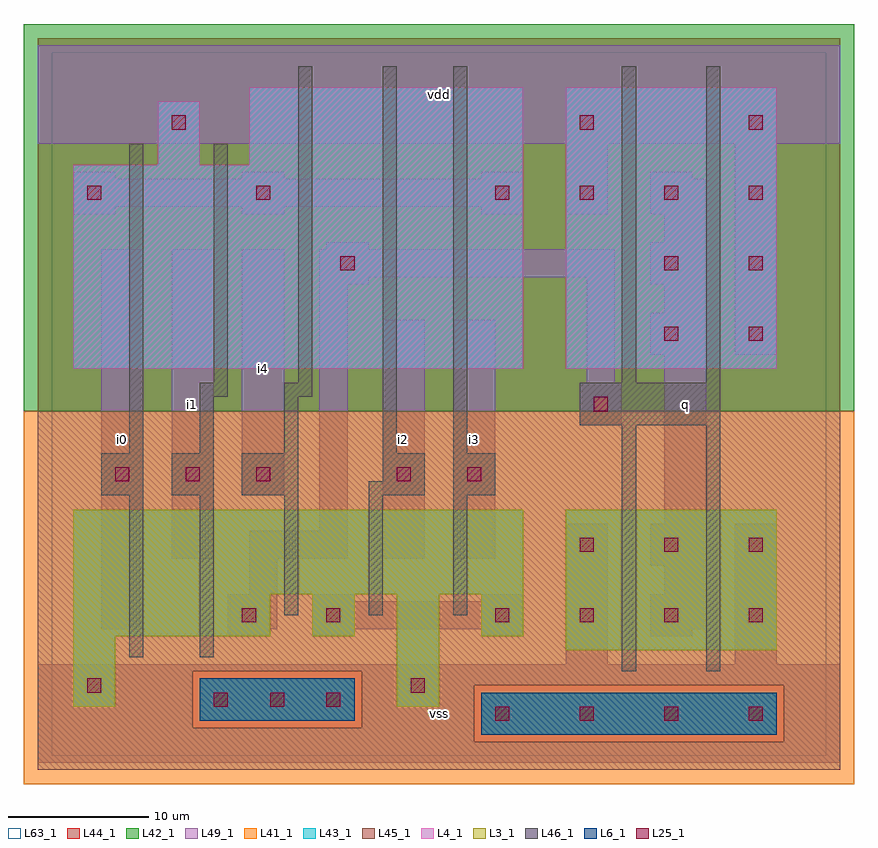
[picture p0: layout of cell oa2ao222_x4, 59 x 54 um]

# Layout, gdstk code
import gdstk
lib = gdstk.Library(unit=1e-6, precision=1e-09)
def R(c, l, rs):  # rectangles x0, y0, x1, y1
    for r in rs: c.add(gdstk.rectangle(r[:2], r[2:], *l))
def A(c, l, x, y, w, h, nx, ny, dx, dy):  # array of equal rectangles
    R(c, l, [(x+i*dx, y+j*dy, x+i*dx+w, y+j*dy+h) for i in range(nx) for j in range(ny)])
L3_1 = (3, 1)
L4_1 = (4, 1)
L6_1 = (6, 1)
L25_1 = (25, 1)
L41_1 = (41, 1)
L42_1 = (42, 1)
L43_1 = (43, 1)
L44_1 = (44, 1)
L45_1 = (45, 1)
L46_1 = (46, 1)
L49_1 = (49, 1)
L63_1 = (63, 1)

oa2ao222_x4 = lib.new_cell('oa2ao222_x4')
R(oa2ao222_x4, L3_1, [(1.5,3.5,4.5,8.5), (24.5,3.5,27.5,11.5), (36.5,7.5,51.5,17.5), (1.5,8.5,15.5,11.5), (18.5,8.5,21.5,11.5), (30.5,8.5,33.5,11.5), (1.5,11.5,33.5,17.5)])
R(oa2ao222_x4, L4_1, [(1.5,27.5,33.5,42), (36.5,27.5,51.5,47.5), (7.5,42,10.5,46.5), (14,42,33.5,47.5)])
R(oa2ao222_x4, L6_1, [(30.5,1.5,51.5,4.5), (10.5,2.5,21.5,5.5)])
A(oa2ao222_x4, L25_1, 31.5, 2.5, 1, 1, 4, 2, 6, 7)
A(oa2ao222_x4, L25_1, 11.5, 3.5, 1, 1, 3, 1, 4, 0)
A(oa2ao222_x4, L25_1, 37.5, 14.5, 1, 1, 3, 1, 6, 0)
A(oa2ao222_x4, L25_1, 4.5, 19.5, 1, 1, 3, 1, 5, 0)
A(oa2ao222_x4, L25_1, 31.5, 39.5, 1, 1, 4, 1, 6, 0)
R(oa2ao222_x4, L25_1, [(2.5,4.5,3.5,5.5), (25.5,4.5,26.5,5.5), (13.5,9.5,14.5,10.5), (19.5,9.5,20.5,10.5), (24.5,19.5,25.5,20.5), (29.5,19.5,30.5,20.5), (38.5,24.5,39.5,25.5), (43.5,29.5,44.5,30.5), (49.5,29.5,50.5,30.5), (20.5,34.5,21.5,35.5), (43.5,34.5,44.5,35.5), (49.5,34.5,50.5,35.5), (2.5,39.5,3.5,40.5), (14.5,39.5,15.5,40.5), (8.5,44.5,9.5,45.5), (37.5,44.5,38.5,45.5), (49.5,44.5,50.5,45.5)])
R(oa2ao222_x4, L41_1, [(-2,-2,57,24.5)])
R(oa2ao222_x4, L42_1, [(-2,24.5,57,52)])
R(oa2ao222_x4, L43_1, [(30.5,1.5,51.5,4.5), (10.5,2.5,21.5,5.5), (1.5,3.5,4.5,8.5), (24.5,3.5,27.5,11.5), (36.5,7.5,51.5,17.5), (1.5,8.5,15.5,11.5), (18.5,8.5,21.5,11.5), (30.5,8.5,33.5,11.5), (1.5,11.5,33.5,17.5), (1.5,27.5,33.5,42), (36.5,27.5,51.5,47.5), (7.5,42,10.5,46.5), (14,42,33.5,47.5)])
R(oa2ao222_x4, L44_1, [(30,1,52,5), (10,2,22,6), (-1,24.5,56,51)])
R(oa2ao222_x4, L45_1, [(-1,-1,56,1), (-1,1,30,2), (52,1,56,5), (-1,2,10,6), (22,2,30,5), (22,5,56,6), (-1,6,56,24.5)])
A(oa2ao222_x4, L46_1, 16.5, 10, 1, 8.5, 3, 1, 6, 0)
R(oa2ao222_x4, L46_1, [(40.5,6,41.5,23.5), (46.5,6,47.5,23.5), (5.5,7,6.5,18.5), (10.5,7,11.5,18.5), (3.5,18.5,6.5,21.5), (8.5,18.5,11.5,21.5), (13.5,18.5,17.5,21.5), (22.5,18.5,26.5,19.5), (28.5,18.5,31.5,21.5), (23.5,19.5,26.5,21.5), (5.5,21.5,6.5,43.5), (10.5,21.5,11.5,25.5), (16.5,21.5,17.5,25.5), (23.5,21.5,24.5,49), (28.5,21.5,29.5,49), (37.5,23.5,47.5,26.5), (10.5,25.5,12.5,26.5), (16.5,25.5,18.5,26.5), (11.5,26.5,12.5,43.5), (17.5,26.5,18.5,49), (40.5,26.5,41.5,49), (46.5,26.5,47.5,49)])
A(oa2ao222_x4, L49_1, 18.5, 8.5, 3, 0.5, 3, 1, 12, 0)
R(oa2ao222_x4, L49_1, [(-1,-0.5,56,6.5), (36.5,6.5,39.5,16.5), (48.5,6.5,51.5,16.5), (12.5,8.5,15.5,9), (3.5,9,6.5,36), (12.5,9,16,11.5), (18.5,9,33.5,11), (42.5,9,46.5,11.5), (18.5,11,21.5,11.5), (30.5,11,33.5,11.5), (14,11.5,16,14), (43.5,11.5,46.5,13.5), (42.5,13.5,46.5,16.5), (8.5,14,11.5,36), (14,14,21,16), (23.5,14,26.5,31), (28.5,14,31.5,31), (19,16,21,33.5), (43.5,16.5,46.5,28.5), (13.5,18.5,16.5,36), (37.5,23.5,40.5,26.5), (38,26.5,40,34), (42.5,28.5,46.5,31.5), (48.5,28.5,51.5,43.5), (43.5,31.5,46.5,33.5), (19,33.5,22.5,34), (42.5,33.5,46.5,36.5), (19,34,40,36), (19.5,36,22.5,36.5), (43.5,36.5,46.5,38.5), (1.5,38.5,4.5,39), (13.5,38.5,16.5,39), (30.5,38.5,33.5,39), (36.5,38.5,39.5,43.5), (42.5,38.5,46.5,41), (1.5,39,33.5,41), (1.5,41,4.5,41.5), (13.5,41,16.5,41.5), (30.5,41,33.5,41.5), (42.5,41,45.5,41.5), (-1,43.5,56,50.5)])
R(oa2ao222_x4, L63_1, [(0,0,55,50)])
oa2ao222_x4.add(gdstk.Label('i0', (5,22.5), layer=49, texttype=1))
oa2ao222_x4.add(gdstk.Label('i0', (5,22.5), layer=49, texttype=1))
oa2ao222_x4.add(gdstk.Label('i1', (10,25), layer=49, texttype=1))
oa2ao222_x4.add(gdstk.Label('i1', (10,25), layer=49, texttype=1))
oa2ao222_x4.add(gdstk.Label('i4', (15,27.5), layer=49, texttype=1))
oa2ao222_x4.add(gdstk.Label('i4', (15,27.5), layer=49, texttype=1))
oa2ao222_x4.add(gdstk.Label('vss', (27.5,3), layer=49, texttype=1))
oa2ao222_x4.add(gdstk.Label('vss', (27.5,3), layer=49, texttype=1))
oa2ao222_x4.add(gdstk.Label('i2', (25,22.5), layer=49, texttype=1))
oa2ao222_x4.add(gdstk.Label('i3', (30,22.5), layer=49, texttype=1))
oa2ao222_x4.add(gdstk.Label('i3', (30,22.5), layer=49, texttype=1))
oa2ao222_x4.add(gdstk.Label('i2', (25,22.5), layer=49, texttype=1))
oa2ao222_x4.add(gdstk.Label('vdd', (27.5,47), layer=49, texttype=1))
oa2ao222_x4.add(gdstk.Label('vdd', (27.5,47), layer=49, texttype=1))
oa2ao222_x4.add(gdstk.Label('q', (45,25), layer=49, texttype=1))
oa2ao222_x4.add(gdstk.Label('q', (45,25), layer=49, texttype=1))

lib.write_gds('oa2ao222_x4.gds')
